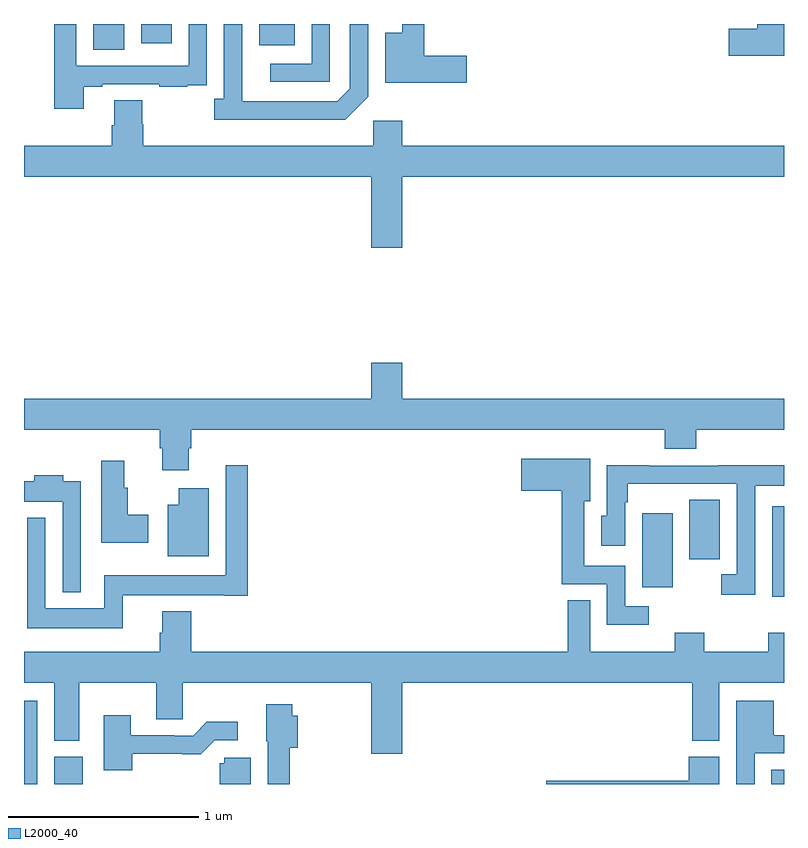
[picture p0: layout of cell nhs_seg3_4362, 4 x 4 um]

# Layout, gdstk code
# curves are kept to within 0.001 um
import gdstk
lib = gdstk.Library(unit=1e-6, precision=1e-09)
def R(c, l, rs):  # rectangles x0, y0, x1, y1
    for r in rs: c.add(gdstk.rectangle(r[:2], r[2:], *l))
def P(c, l, *ps):  # polygons
    for p in ps: c.add(gdstk.Polygon(p, *l))
L2000_40 = (2000, 40)

nhs_seg3_4362 = lib.new_cell('nhs_seg3_4362')
R(nhs_seg3_4362, L2000_40, [(343,684.4,343.071,684.838), (343.16,684.4,343.309,684.543), (346.934,684.4,347,684.476), (346.937,685.386,347,685.861), (346.253,685.436,346.414,685.825), (346.502,685.584,346.663,685.895), (343.364,688.264,343.528,688.4), (344.237,688.289,344.425,688.4), (343.616,688.299,343.777,688.4)])
P(nhs_seg3_4362, L2000_40, [(347,688.4),(346.859,688.4),(346.859,688.376),(346.71,688.376),(346.71,688.234),(347,688.234)],
  [(343.315,688.071),(343.411,688.071),(343.411,688.083),(343.711,688.083),(343.711,688.071),(343.859,688.071),(343.859,688.077),(343.961,688.077),(343.961,688.186),(343.962,688.186),(343.962,688.4),(343.866,688.4),(343.866,688.179),(343.275,688.179),(343.275,688.4),(343.159,688.4),(343.159,687.954),(343.315,687.954)],
  [(344.61,688.4),(344.514,688.4),(344.514,688.191),(344.295,688.191),(344.295,688.095),(344.61,688.095)],
  [(344.811,688.017),(344.811,688.4),(344.715,688.4),(344.715,688.059),(344.649,687.993),(344.149,687.993),(344.148,688.4),(344.052,688.4),(344.052,688.006),(344.001,688.006),(344.001,687.896),(344.69,687.896)],
  [(345.331,688.232),(345.107,688.232),(345.107,688.4),(344.99,688.4),(344.99,688.354),(344.9,688.354),(344.9,688.09),(345.331,688.09)],
  [(344.992,687.596),(347,687.596),(347,687.76),(344.99,687.76),(344.99,687.892),(344.838,687.892),(344.838,687.76),(343.628,687.76),(343.628,687.873),(343.623,687.873),(343.623,687.998),(343.475,687.998),(343.475,687.866),(343.463,687.866),(343.463,687.76),(343,687.76),(343,687.596),(344.828,687.596),(344.828,687.222),(344.992,687.222)],
  [(343.867,686.166),(343.88,686.166),(343.88,686.264),(346.373,686.264),(346.373,686.165),(346.538,686.165),(346.538,686.264),(347,686.264),(347,686.428),(344.992,686.428),(344.992,686.617),(344.828,686.617),(344.828,686.428),(343,686.428),(343,686.264),(343.715,686.264),(343.715,686.166),(343.727,686.166),(343.727,686.052),(343.867,686.052)],
  [(346.288,685.335),(346.164,685.335),(346.164,685.548),(345.949,685.548),(345.949,685.889),(345.979,685.889),(345.979,686.113),(345.618,686.113),(345.618,685.943),(345.831,685.943),(345.831,685.452),(346.068,685.452),(346.068,685.238),(346.288,685.238)],
  [(343.654,685.818),(343.546,685.818),(343.546,685.959),(343.528,685.959),(343.528,686.101),(343.406,686.101),(343.406,685.67),(343.654,685.67)],
  [(346.848,685.97),(347,685.97),(347,686.078),(346.655,686.078),(346.655,686.076),(346.289,686.076),(346.289,686.078),(346.068,686.078),(346.068,685.812),(346.037,685.812),(346.037,685.653),(346.164,685.653),(346.164,685.883),(346.177,685.883),(346.177,685.979),(346.406,685.979),(346.406,685.98),(346.752,685.98),(346.752,685.503),(346.671,685.503),(346.671,685.395),(346.848,685.395)],
  [(343.52,685.394),(344.054,685.394),(344.054,685.392),(344.177,685.392),(344.177,686.077),(344.061,686.077),(344.061,685.498),(343.422,685.498),(343.422,685.324),(343.113,685.324),(343.113,685.801),(343.016,685.801),(343.016,685.22),(343.52,685.22)],
  [(343.299,685.993),(343.207,685.993),(343.207,686.026),(343.055,686.026),(343.055,685.993),(343,685.993),(343,685.886),(343.203,685.886),(343.203,685.409),(343.299,685.409)],
  [(343.972,685.957),(343.814,685.957),(343.814,685.87),(343.757,685.87),(343.757,685.598),(343.972,685.598)],
  [(344.992,684.932),(346.517,684.932),(346.517,684.628),(346.66,684.628),(346.66,684.932),(347,684.932),(347,685.195),(346.918,685.195),(346.918,685.096),(346.581,685.096),(346.581,685.195),(346.426,685.195),(346.426,685.096),(345.979,685.096),(345.979,685.367),(345.861,685.367),(345.861,685.096),(343.88,685.096),(343.88,685.309),(343.727,685.309),(343.727,685.197),(343.715,685.197),(343.715,685.096),(343,685.096),(343,684.932),(343.16,684.932),(343.16,684.628),(343.291,684.628),(343.291,684.932),(343.697,684.932),(343.697,684.742),(343.836,684.742),(343.836,684.932),(344.828,684.932),(344.828,684.558),(344.992,684.558)],
  [(346.845,684.561),(347,684.561),(347,684.657),(346.945,684.657),(346.945,684.838),(346.749,684.838),(346.749,684.4),(346.845,684.4)],
  [(344.399,684.59),(344.442,684.59),(344.442,684.76),(344.412,684.76),(344.412,684.82),(344.276,684.82),(344.276,684.624),(344.283,684.624),(344.283,684.4),(344.399,684.4)],
  [(343.569,684.558),(343.931,684.557),(344.004,684.63),(344.125,684.63),(344.125,684.727),(343.963,684.727),(343.89,684.654),(343.79,684.654),(343.79,684.657),(343.561,684.657),(343.561,684.763),(343.421,684.763),(343.421,684.473),(343.569,684.473)],
  [(346.66,684.543),(346.499,684.543),(346.499,684.416),(345.749,684.416),(345.749,684.4),(346.66,684.4)],
  [(344.194,684.537),(344.055,684.537),(344.055,684.51),(344.03,684.51),(344.03,684.4),(344.194,684.4)])

lib.write_gds('nhs_seg3_4362.gds')
